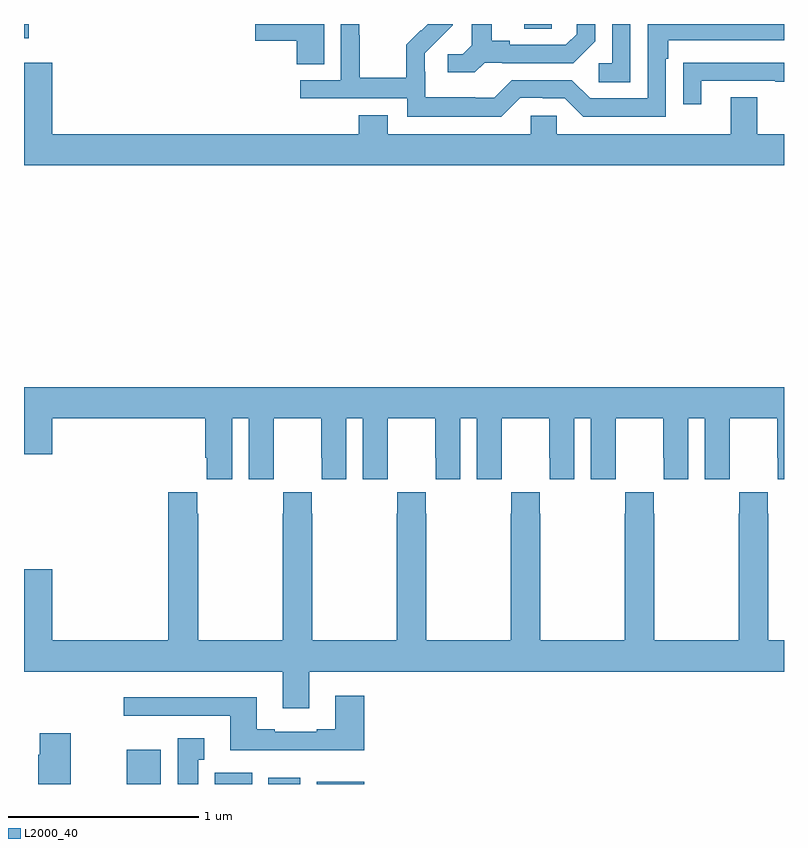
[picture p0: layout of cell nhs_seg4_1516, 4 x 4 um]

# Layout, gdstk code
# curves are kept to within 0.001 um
import gdstk
lib = gdstk.Library(unit=1e-6, precision=1e-09)
def R(c, l, rs):  # rectangles x0, y0, x1, y1
    for r in rs: c.add(gdstk.rectangle(r[:2], r[2:], *l))
def P(c, l, *ps):  # polygons
    for p in ps: c.add(gdstk.Polygon(p, *l))
L2000_40 = (2000, 40)

nhs_seg4_1516 = lib.new_cell('nhs_seg4_1516')
R(nhs_seg4_1516, L2000_40, [(189.542,790.9,189.721,791.08), (190.004,790.9,190.201,790.96), (190.286,790.9,190.453,790.933), (190.541,790.9,190.792,790.912), (189,794.825,189.025,794.9), (191.633,794.875,191.778,794.9)])
P(nhs_seg4_1516, L2000_40, [(190.579,794.9),(190.218,794.9),(190.218,794.813),(190.436,794.813),(190.436,794.689),(190.579,794.689)],
  [(191.424,794.697),(191.518,794.697),(191.518,794.694),(191.89,794.694),(192.006,794.81),(192.006,794.9),(191.909,794.9),(191.909,794.847),(191.852,794.79),(191.557,794.79),(191.557,794.813),(191.461,794.813),(191.461,794.9),(191.357,794.9),(191.357,794.789),(191.31,794.742),(191.229,794.742),(191.229,794.645),(191.372,794.645)],
  [(191.613,794.511),(191.729,794.511),(191.729,794.508),(191.847,794.508),(191.943,794.412),(192.378,794.412),(192.378,794.717),(192.391,794.717),(192.391,794.814),(193,794.814),(193,794.9),(192.282,794.9),(192.282,794.508),(191.979,794.508),(191.883,794.604),(191.568,794.604),(191.475,794.511),(191.375,794.511),(191.375,794.515),(191.112,794.515),(191.112,794.649),(191.11,794.649),(191.11,794.746),(191.256,794.894),(191.256,794.9),(191.126,794.9),(191.091,794.865),(191.088,794.868),(191.011,794.791),(191.011,794.617),(190.767,794.617),(190.767,794.84),(190.764,794.84),(190.764,794.9),(190.668,794.9),(190.668,794.604),(190.455,794.604),(190.455,794.508),(191.016,794.508),(191.016,794.411),(191.513,794.411)],
  [(192.192,794.9),(192.096,794.9),(192.096,794.694),(192.024,794.694),(192.024,794.593),(192.192,794.593)],
  [(192.565,794.601),(192.955,794.601),(192.955,794.596),(193,794.596),(193,794.697),(192.571,794.697),(192.571,794.696),(192.469,794.696),(192.469,794.478),(192.565,794.478)],
  [(193,794.32),(192.859,794.32),(192.859,794.515),(192.719,794.515),(192.719,794.32),(191.805,794.32),(191.805,794.418),(191.667,794.418),(191.667,794.32),(190.915,794.32),(190.915,794.419),(190.763,794.419),(190.763,794.32),(189.148,794.32),(189.148,794.695),(189,794.695),(189,794.156),(193,794.156)],
  [(190.096,792.824),(190.184,792.824),(190.184,792.504),(190.314,792.504),(190.314,792.616),(190.315,792.616),(190.315,792.824),(190.565,792.824),(190.565,792.616),(190.566,792.616),(190.566,792.504),(190.696,792.504),(190.696,792.824),(190.784,792.824),(190.784,792.504),(190.914,792.504),(190.914,792.616),(190.915,792.616),(190.915,792.824),(191.165,792.824),(191.165,792.616),(191.166,792.616),(191.166,792.504),(191.296,792.504),(191.296,792.824),(191.384,792.824),(191.384,792.504),(191.514,792.504),(191.514,792.616),(191.515,792.616),(191.515,792.824),(191.765,792.824),(191.765,792.616),(191.766,792.616),(191.766,792.504),(191.896,792.504),(191.896,792.824),(191.984,792.824),(191.984,792.504),(192.114,792.504),(192.114,792.616),(192.115,792.616),(192.115,792.824),(192.365,792.824),(192.365,792.616),(192.366,792.616),(192.366,792.504),(192.496,792.504),(192.496,792.824),(192.584,792.824),(192.584,792.504),(192.714,792.504),(192.714,792.616),(192.715,792.616),(192.715,792.824),(192.965,792.824),(192.965,792.616),(192.966,792.616),(192.966,792.504),(193,792.504),(193,792.988),(189,792.988),(189,792.636),(189.148,792.636),(189.148,792.824),(189.953,792.824),(189.953,792.616),(189.962,792.616),(189.962,792.504),(190.096,792.504)],
  [(193,791.656),(192.918,791.656),(192.918,792.323),(192.915,792.323),(192.915,792.436),(192.765,792.436),(192.765,792.323),(192.763,792.323),(192.763,791.656),(192.318,791.656),(192.318,792.323),(192.315,792.323),(192.315,792.436),(192.165,792.436),(192.165,792.323),(192.163,792.323),(192.163,791.656),(191.718,791.656),(191.718,792.323),(191.715,792.323),(191.715,792.436),(191.565,792.436),(191.565,792.323),(191.563,792.323),(191.563,791.656),(191.118,791.656),(191.118,792.323),(191.115,792.323),(191.115,792.436),(190.965,792.436),(190.965,792.323),(190.963,792.323),(190.963,791.656),(190.518,791.656),(190.518,792.323),(190.515,792.323),(190.515,792.436),(190.365,792.436),(190.365,792.323),(190.363,792.323),(190.363,791.656),(189.918,791.656),(189.918,792.323),(189.911,792.323),(189.911,792.436),(189.758,792.436),(189.758,791.656),(189.148,791.656),(189.148,792.031),(189,792.031),(189,791.492),(190.361,791.492),(190.361,791.298),(190.501,791.298),(190.501,791.492),(193,791.492)],
  [(190.79,791.365),(190.637,791.365),(190.637,791.188),(190.541,791.188),(190.541,791.175),(190.321,791.175),(190.321,791.188),(190.225,791.188),(190.225,791.356),(189.525,791.356),(189.525,791.259),(190.085,791.259),(190.085,791.078),(190.79,791.078)],
  [(189.246,791.167),(189.083,791.167),(189.083,791.054),(189.076,791.054),(189.076,790.9),(189.246,790.9)],
  [(189.916,791.027),(189.949,791.027),(189.949,791.14),(189.809,791.14),(189.809,790.9),(189.916,790.9)])

lib.write_gds('nhs_seg4_1516.gds')
